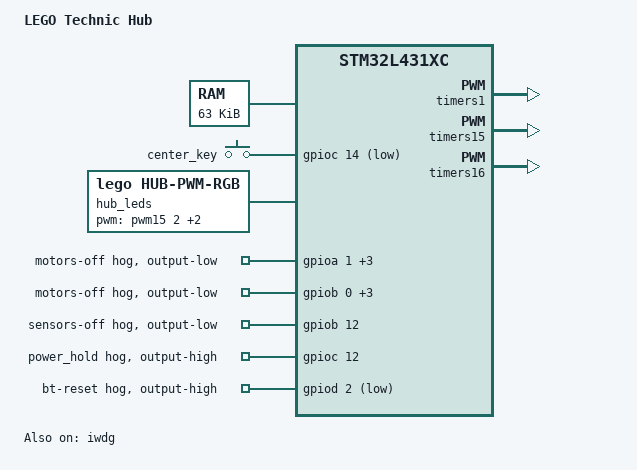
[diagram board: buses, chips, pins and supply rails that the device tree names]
// SPDX-License-Identifier: Apache-2.0

/dts-v1/;
#include <st/l4/stm32l431Xc.dtsi>
#include <st/l4/stm32l431r(b-c)tx-pinctrl.dtsi>
#include <zephyr/dt-bindings/input/input-event-codes.h>
#include <zephyr/dt-bindings/pwm/pwm.h>

/ {
	model = "LEGO Technic Hub";
	compatible = "lego,technic-hub";
	aliases { watchdog0 = &iwdg; };
	chosen {
		zephyr,sram = &app_sram;
		zephyr,flash = &flash0;
		zephyr,code-partition = &firmware_partition;
	};
	/* Keep the loader's selector at 0x20000200 outside the C runtime. The
	 * whole first KiB is reserved so the remaining SRAM has KiB alignment. */
	app_sram: memory@20000400 {
		compatible = "mmio-sram";
		reg = <0x20000400 DT_SIZE_K(63)>;
	};
	boot_request: boot-request@20000200 {
		compatible = "zephyr,memory-region";
		reg = <0x20000200 4>;
		zephyr,memory-region = "BOOT_REQUEST";
	};
	center_keys: buttons {
		compatible = "gpio-keys";
		center_key: center {
			gpios = <&gpioc 14 GPIO_ACTIVE_LOW>;
			zephyr,code = <INPUT_KEY_ENTER>;
		};
	};
	hub_leds: status-light {
		compatible = "lego,hub-pwm-rgb";
		/* TIM1/15 also serve motors, so use their reference 10 kHz period.
		 * Hardware PWM avoids the reference's TIM2 software GPIO ISR. */
		pwms = <&pwm15 2 PWM_USEC(100) PWM_POLARITY_NORMAL>,
		       <&pwm1 4 PWM_USEC(100) PWM_POLARITY_NORMAL>,
		       <&pwm16 1 PWM_USEC(1000) PWM_POLARITY_NORMAL>;
		/* Relative reference weights 1000:270:200, not a measured calibration. */
		white-balance = <255 69 51>;
	};
};

/* Only app_sram is available to the runtime; sram0 includes the selector. */
&sram0 { status = "disabled"; };
&clk_msi { status = "okay"; msi-range = <6>; };
&clk_lsi { status = "okay"; };
&pll {
	clocks = <&clk_msi>;
	div-m = <1>;
	mul-n = <40>;
	div-p = <7>;
	div-q = <4>;
	div-r = <2>;
	status = "okay";
};
&rcc {
	clocks = <&pll>;
	clock-frequency = <DT_FREQ_M(80)>;
	ahb-prescaler = <1>;
	/* 5 MHz APB1 permits the LPUART's 2400-baud device handshake. */
	apb1-prescaler = <16>;
	apb2-prescaler = <1>;
};
&iwdg { status = "okay"; };

&gpioa {
	motors-off {
		gpio-hog;
		gpios = <1 GPIO_ACTIVE_HIGH>, <8 GPIO_ACTIVE_HIGH>,
			<9 GPIO_ACTIVE_HIGH>, <10 GPIO_ACTIVE_HIGH>;
		output-low;
	};
};
&gpiob {
	motors-off {
		gpio-hog;
		gpios = <0 GPIO_ACTIVE_HIGH>, <1 GPIO_ACTIVE_HIGH>,
			<13 GPIO_ACTIVE_HIGH>, <14 GPIO_ACTIVE_HIGH>;
		output-low;
	};
	sensors-off {
		gpio-hog;
		gpios = <12 GPIO_ACTIVE_HIGH>;
		output-low;
	};
};
&gpioc {
	power_hold: power-hold {
		gpio-hog;
		gpios = <12 GPIO_ACTIVE_HIGH>;
		output-high;
	};
};
&gpiod {
	/* Keep the factory-programmed CC2640 idle until its transport is ready. */
	bt-reset {
		gpio-hog;
		gpios = <2 GPIO_ACTIVE_LOW>;
		output-high;
	};
};

&timers1 {
	status = "okay";
	st,prescaler = <7>;
	pwm1: pwm {
		status = "okay";
		pinctrl-0 = <&tim1_ch4_pa11>;
		pinctrl-names = "default";
	};
};
&timers15 {
	status = "okay";
	st,prescaler = <7>;
	pwm15: pwm {
		status = "okay";
		pinctrl-0 = <&tim15_ch2_pb15>;
		pinctrl-names = "default";
	};
};
&timers16 {
	status = "okay";
	st,prescaler = <7>;
	pwm16: pwm {
		status = "okay";
		pinctrl-0 = <&tim16_ch1_pa6>;
		pinctrl-names = "default";
	};
};

&flash0 {
	partitions {
		compatible = "fixed-partitions";
		#address-cells = <1>;
		#size-cells = <1>;
		factory_partition: partition@0 {
			label = "factory-loader";
			reg = <0 0x8000>;
			read-only;
		};
		firmware_partition: partition@8000 {
			label = "firmware";
			reg = <0x8000 0x34000>;
		};
		/* Do not write either user partition: USER_0 affects the loader's
		 * boot checksum and no storage implementation is provided yet. */
		user_checked_partition: partition@3c000 {
			label = "user-checked";
			reg = <0x3c000 0x3000>;
			read-only;
		};
		user_partition: partition@3f000 {
			label = "user";
			reg = <0x3f000 0x1000>;
			read-only;
		};
	};
};
